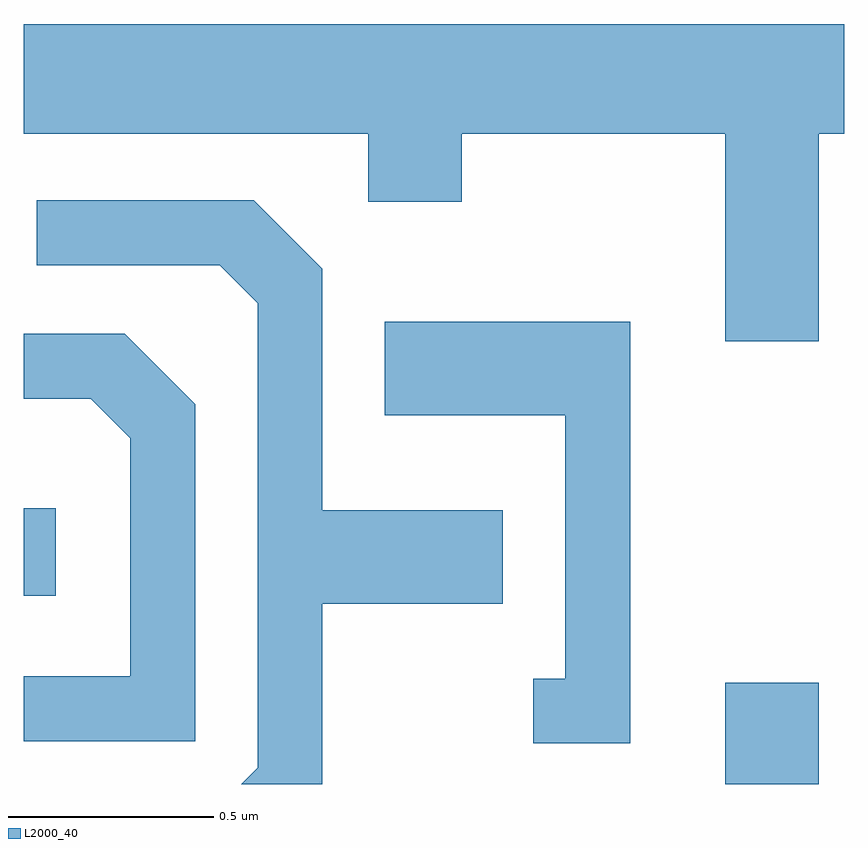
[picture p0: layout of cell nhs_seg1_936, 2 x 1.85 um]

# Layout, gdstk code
import gdstk
lib = gdstk.Library(unit=1e-6, precision=1e-09)
def R(c, l, rs):  # rectangles x0, y0, x1, y1
    for r in rs: c.add(gdstk.rectangle(r[:2], r[2:], *l))
def P(c, l, *ps):  # polygons
    for p in ps: c.add(gdstk.Polygon(p, *l))
L2000_40 = (2000, 40)

nhs_seg1_936 = lib.new_cell('nhs_seg1_936')
R(nhs_seg1_936, L2000_40, [(193.321,955.712,193.549,955.959), (191.611,956.171,191.689,956.384)])
P(nhs_seg1_936, L2000_40, [(193.549,957.296),(193.611,957.296),(193.611,957.564),(191.611,957.564),(191.611,957.296),(192.451,957.296),(192.451,957.131),(192.679,957.131),(192.679,957.296),(193.321,957.296),(193.321,956.791),(193.549,956.791)],
  [(192.339,956.151),(192.779,956.151),(192.779,956.379),(192.339,956.379),(192.339,956.967),(192.172,957.134),(191.643,957.134),(191.643,956.976),(192.089,956.976),(192.181,956.884),(192.181,955.752),(192.141,955.712),(192.339,955.712)],
  [(193.089,956.839),(192.491,956.839),(192.491,956.611),(192.931,956.611),(192.931,955.969),(192.853,955.969),(192.853,955.811),(193.089,955.811)],
  [(192.029,956.637),(191.857,956.809),(191.611,956.809),(191.611,956.651),(191.774,956.651),(191.871,956.554),(191.871,955.974),(191.611,955.974),(191.611,955.816),(192.029,955.816)])

lib.write_gds('nhs_seg1_936.gds')
